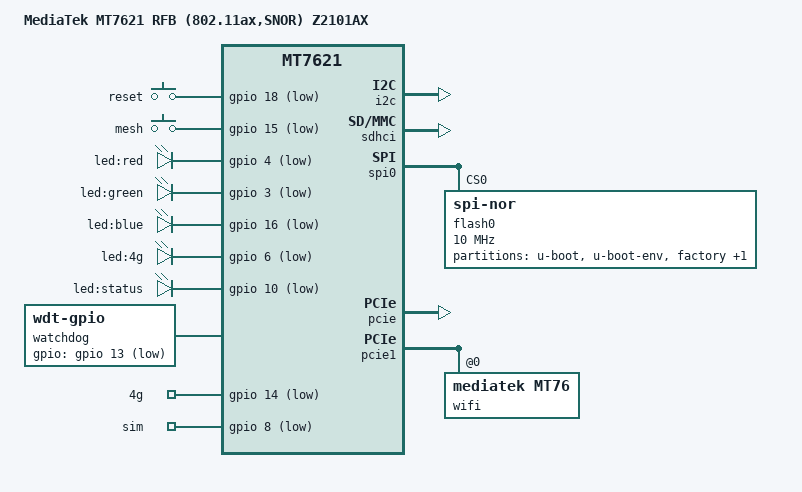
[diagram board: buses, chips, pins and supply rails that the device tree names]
#include "mt7621.dtsi"

#include <dt-bindings/gpio/gpio.h>
#include <dt-bindings/input/input.h>

/ {
	compatible = "zbtlink,zbt-z2101ax-32m", "mediatek,mt7621-rfb-nor", "mediatek,mt7621-soc";
	model = "MediaTek MT7621 RFB (802.11ax,SNOR) Z2101AX";

	aliases {
		led-boot = &led_status;
		led-failsafe = &led_status;
		led-running = &led_status;
		led-upgrade = &led_status;
	};

	chosen {
		bootargs = "console=ttyS0,115200";
	};

	keys {
		compatible = "gpio-keys";

		reset {
			label = "reset";
			gpios = <&gpio 18 GPIO_ACTIVE_LOW>;
			linux,code = <KEY_RESTART>;
		};

		mesh {
			label = "mesh";
			gpios = <&gpio 15 GPIO_ACTIVE_LOW>;
			linux,code = <BTN_0>;
		};
	};

	leds {
		compatible = "gpio-leds";

		led_red: red {
			label = "led:red";
			gpios = <&gpio 4 GPIO_ACTIVE_LOW>;
		};

		led_green: green {
			label = "led:green";
			gpios = <&gpio 3 GPIO_ACTIVE_LOW>;
		};

		led_blue: blue {
			label = "led:blue";
			gpios = <&gpio 16 GPIO_ACTIVE_LOW>;
		};

		led_4g: 4g {
			label = "led:4g";
			gpios = <&gpio 6 GPIO_ACTIVE_LOW>;
			//gpios = <&gpio 13 GPIO_ACTIVE_LOW>;
		};

		led_status: status {
			label = "led:status";
			gpios = <&gpio 10 GPIO_ACTIVE_LOW>;
		};

	};

	watchdog {
		compatible = "linux,wdt-gpio";
		gpios = <&gpio 13 GPIO_ACTIVE_LOW>;
		hw_algo = "toggle";
		hw_margin_ms = <2000>;
		always-running;
	};

	gpio_export {

		compatible = "gpio-export";
		4g {
			gpio-export,name = "4g";
			gpio-export,output = <1>;
			gpios = <&gpio 14 GPIO_ACTIVE_LOW>;
			/*gpios = <&gpio0 14 1>;*/
		};

		sim {
			gpio-export,name = "sim";
			gpio-export,output = <1>;
			gpios = <&gpio 8 GPIO_ACTIVE_LOW>;
			/*gpios = <&gpio0 8 1>;*/
		};
	};
};

&i2c {
	status = "okay";
};

&sdhci {
	status = "okay";
};

&spi0 {
	status = "okay";

	flash0: flash@0 {
		compatible = "jedec,spi-nor";
		reg = <0>;
		spi-max-frequency = <10000000>;

		partitions {
			compatible = "fixed-partitions";
			#address-cells = <1>;
			#size-cells = <1>;

			partition@0 {
				label = "u-boot";
				reg = <0x0 0x30000>;
				read-only;
			};

			partition@30000 {
				label = "u-boot-env";
				reg = <0x30000 0x10000>;
				read-only;
			};

			factory: partition@50000 {
				label = "factory";
				reg = <0x50000 0x40000>;
				read-only;
			};

			firmware: partition@90000 {
				compatible = "denx,uimage";
				label = "firmware";
			};
		};
	};
};

&pcie {
	status = "okay";
};

&pcie1 {
	wifi@0,0 {
		compatible = "mediatek,mt76";
		reg = <0x0000 0 0 0 0>;
		mediatek,mtd-eeprom = <&factory 0x0>;
	};
};


&ethernet {
	pinctrl-0 = <&mdio_pins>, <&rgmii1_pins>;
};

&gmac0 {
	nvmem-cells = <&macaddr_factory_3fff4>;
	nvmem-cell-names = "mac-address";
};

&switch0 {
	ports {
		port@1 {
			status = "okay";
			label = "lan1";
		};

		port@2 {
			status = "okay";
			label = "lan2";
		};

		port@3 {
			status = "okay";
			label = "lan3";
		};

		port@4 {
			status = "okay";
			label = "wan";
			nvmem-cells = <&macaddr_factory_3fff4>;
			nvmem-cell-names = "mac-address";
			mac-address-increment = <1>;
		};
	};
};

&state_default {
	gpio {
		groups = "wdt", "jtag", "rgmii2";
		function = "gpio";
	};
};

&factory {
	compatible = "nvmem-cells";
	#address-cells = <1>;
	#size-cells = <1>;

	macaddr_factory_3fff4: macaddr@3fff4 {
		reg = <0x3fff4 0x6>;
	};
};

